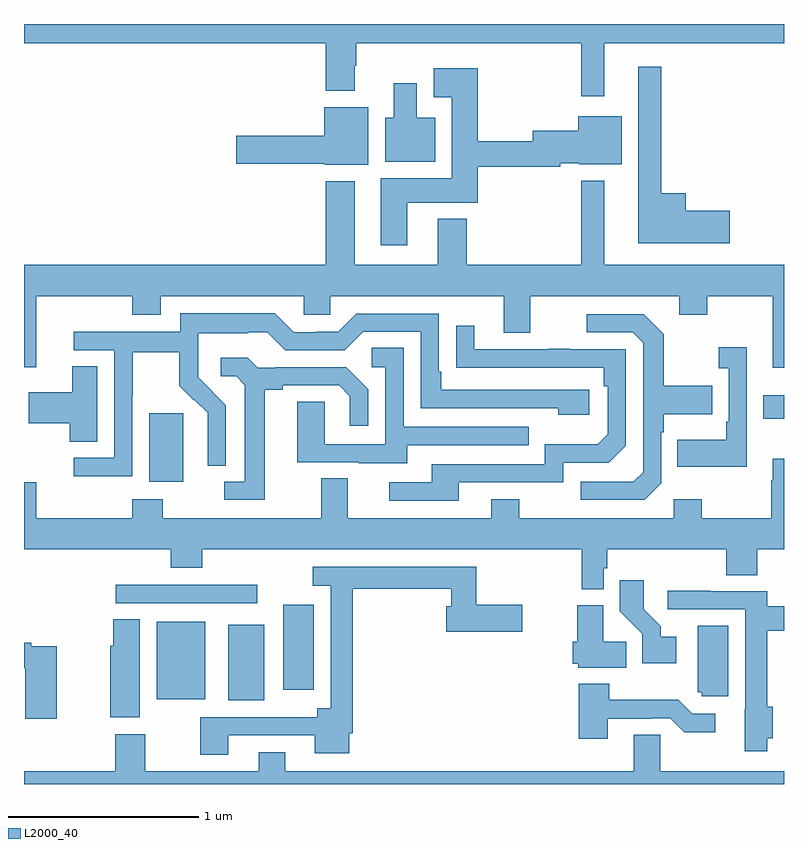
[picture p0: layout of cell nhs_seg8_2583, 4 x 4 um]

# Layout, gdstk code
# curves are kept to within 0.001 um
import gdstk
lib = gdstk.Library(unit=1e-6, precision=1e-09)
def R(c, l, rs):  # rectangles x0, y0, x1, y1
    for r in rs: c.add(gdstk.rectangle(r[:2], r[2:], *l))
def P(c, l, *ps):  # polygons
    for p in ps: c.add(gdstk.Polygon(p, *l))
L2000_40 = (2000, 40)

nhs_seg8_2583 = lib.new_cell('nhs_seg8_2583')
R(nhs_seg8_2583, L2000_40, [(274.076,1146.341,274.264,1146.739), (273.698,1146.347,273.955,1146.754), (274.364,1146.396,274.525,1146.844), (273.483,1146.852,274.228,1146.948), (273.659,1147.49,273.838,1147.851), (276.891,1147.823,277,1147.945)])
P(nhs_seg8_2583, L2000_40, [(276.055,1149.8),(277,1149.8),(277,1149.9),(273,1149.9),(273,1149.8),(274.589,1149.8),(274.589,1149.548),(274.741,1149.548),(274.741,1149.68),(274.749,1149.68),(274.749,1149.8),(275.934,1149.8),(275.934,1149.519),(276.055,1149.519)],
  [(276.715,1148.918),(276.484,1148.918),(276.484,1149.01),(276.355,1149.01),(276.355,1149.676),(276.233,1149.676),(276.233,1148.747),(276.715,1148.747)],
  [(275.017,1148.96),(275.387,1148.96),(275.387,1149.148),(275.822,1149.148),(275.822,1149.167),(275.922,1149.167),(275.922,1149.161),(276.145,1149.161),(276.145,1149.415),(275.918,1149.415),(275.918,1149.337),(275.678,1149.337),(275.678,1149.284),(275.387,1149.284),(275.387,1149.667),(275.157,1149.667),(275.157,1149.515),(275.252,1149.515),(275.252,1149.088),(274.877,1149.088),(274.877,1148.736),(275.017,1148.736)],
  [(275.164,1149.406),(275.068,1149.406),(275.068,1149.589),(274.946,1149.589),(274.946,1149.406),(274.901,1149.406),(274.901,1149.176),(275.164,1149.176)],
  [(274.813,1149.463),(274.58,1149.463),(274.58,1149.311),(274.116,1149.311),(274.116,1149.164),(274.584,1149.164),(274.584,1149.158),(274.813,1149.158)],
  [(276.055,1149.076),(275.934,1149.076),(275.934,1148.632),(275.33,1148.632),(275.33,1148.875),(275.177,1148.875),(275.177,1148.632),(274.741,1148.632),(274.741,1149.073),(274.589,1149.073),(274.589,1148.632),(273,1148.632),(273,1148.094),(273.064,1148.094),(273.064,1148.468),(273.569,1148.468),(273.569,1148.369),(273.721,1148.369),(273.721,1148.468),(274.473,1148.468),(274.473,1148.37),(274.611,1148.37),(274.611,1148.468),(275.525,1148.468),(275.525,1148.274),(275.665,1148.274),(275.665,1148.468),(276.449,1148.468),(276.449,1148.369),(276.597,1148.369),(276.597,1148.468),(276.941,1148.468),(276.941,1148.091),(277,1148.091),(277,1148.632),(276.055,1148.632)],
  [(273.57,1147.948),(273.573,1147.948),(273.573,1148.172),(273.817,1148.172),(273.817,1147.997),(273.894,1147.92),(273.897,1147.923),(273.968,1147.853),(273.968,1147.73),(273.966,1147.73),(273.966,1147.576),(274.062,1147.576),(274.062,1147.894),(273.916,1148.042),(273.916,1148.139),(273.918,1148.139),(273.918,1148.273),(274.181,1148.273),(274.181,1148.277),(274.281,1148.277),(274.374,1148.184),(274.689,1148.184),(274.785,1148.28),(275.088,1148.28),(275.088,1147.878),(275.813,1147.878),(275.813,1147.844),(275.974,1147.844),(275.974,1147.974),(275.197,1147.974),(275.197,1148.071),(275.184,1148.071),(275.184,1148.376),(274.749,1148.376),(274.653,1148.28),(274.535,1148.28),(274.535,1148.277),(274.419,1148.277),(274.319,1148.377),(273.822,1148.377),(273.822,1148.28),(273.261,1148.28),(273.261,1148.184),(273.474,1148.184),(273.474,1147.617),(273.261,1147.617),(273.261,1147.519),(273.57,1147.519)],
  [(276.354,1147.482),(276.354,1147.751),(276.367,1147.751),(276.367,1147.847),(276.623,1147.847),(276.623,1147.995),(276.367,1147.995),(276.367,1148.267),(276.261,1148.373),(275.961,1148.373),(275.961,1148.277),(276.204,1148.277),(276.258,1148.223),(276.258,1147.542),(276.207,1147.491),(275.931,1147.491),(275.931,1147.395),(276.267,1147.395)],
  [(275.287,1147.488),(275.838,1147.488),(275.838,1147.59),(276.078,1147.59),(276.168,1147.68),(276.168,1148.187),(275.873,1148.187),(275.873,1148.192),(275.761,1148.192),(275.761,1148.187),(275.371,1148.187),(275.371,1148.311),(275.275,1148.311),(275.275,1148.092),(276.052,1148.091),(276.052,1147.994),(276.072,1147.994),(276.072,1147.74),(276.019,1147.687),(275.742,1147.687),(275.742,1147.584),(275.147,1147.584),(275.147,1147.488),(274.923,1147.488),(274.923,1147.392),(275.287,1147.392)],
  [(276.804,1148.2),(276.657,1148.2),(276.657,1148.087),(276.708,1148.087),(276.708,1147.807),(276.696,1147.807),(276.696,1147.711),(276.439,1147.711),(276.439,1147.571),(276.804,1147.571)],
  [(275.017,1147.683),(275.657,1147.683),(275.657,1147.779),(274.998,1147.779),(274.998,1148.195),(274.83,1148.195),(274.83,1148.094),(274.902,1148.094),(274.902,1147.689),(274.584,1147.689),(274.584,1147.913),(274.439,1147.913),(274.439,1147.593),(274.763,1147.593),(274.763,1147.589),(275.017,1147.589)],
  [(274.267,1147.976),(274.363,1147.976),(274.363,1147.998),(274.658,1147.998),(274.715,1147.941),(274.715,1147.785),(274.812,1147.785),(274.812,1147.978),(274.696,1148.094),(274.324,1148.094),(274.324,1148.091),(274.23,1148.091),(274.178,1148.143),(274.035,1148.143),(274.035,1148.046),(274.116,1148.046),(274.163,1147.999),(274.163,1147.491),(274.053,1147.491),(274.053,1147.395),(274.267,1147.395)],
  [(273.385,1148.099),(273.254,1148.099),(273.254,1147.963),(273.024,1147.963),(273.024,1147.798),(273.242,1147.798),(273.242,1147.702),(273.385,1147.702)],
  [(276.051,1147.035),(276.071,1147.035),(276.071,1147.136),(276.695,1147.136),(276.695,1147),(276.86,1147),(276.86,1147.136),(277,1147.136),(277,1147.612),(276.941,1147.612),(276.941,1147.499),(276.934,1147.499),(276.934,1147.3),(276.567,1147.3),(276.567,1147.399),(276.42,1147.399),(276.42,1147.3),(275.607,1147.3),(275.607,1147.399),(275.459,1147.399),(275.459,1147.3),(274.705,1147.3),(274.705,1147.508),(274.565,1147.508),(274.565,1147.3),(273.729,1147.3),(273.729,1147.399),(273.569,1147.399),(273.569,1147.3),(273.064,1147.3),(273.064,1147.489),(273,1147.489),(273,1147.136),(273.773,1147.136),(273.773,1147.037),(273.938,1147.037),(273.938,1147.136),(275.935,1147.136),(275.935,1146.926),(276.051,1146.926)],
  [(274.075,1146.156),(274.529,1146.156),(274.529,1146.062),(274.711,1146.062),(274.711,1146.166),(274.73,1146.166),(274.73,1146.928),(275.249,1146.928),(275.249,1146.835),(275.222,1146.835),(275.222,1146.701),(275.623,1146.701),(275.623,1146.843),(275.381,1146.843),(275.381,1147.044),(274.521,1147.044),(274.521,1146.944),(274.614,1146.944),(274.614,1146.298),(274.544,1146.298),(274.544,1146.252),(273.928,1146.252),(273.928,1146.054),(274.075,1146.054)],
  [(276.433,1146.676),(276.352,1146.676),(276.352,1146.731),(276.262,1146.821),(276.262,1146.973),(276.136,1146.973),(276.136,1146.81),(276.255,1146.691),(276.255,1146.536),(276.433,1146.536)],
  [(276.911,1146.14),(276.941,1146.14),(276.941,1146.306),(276.911,1146.306),(276.911,1146.706),(277,1146.706),(277,1146.835),(276.911,1146.835),(276.911,1146.915),(276.611,1146.915),(276.611,1146.918),(276.387,1146.918),(276.387,1146.819),(276.795,1146.819),(276.795,1146.294),(276.794,1146.294),(276.794,1146.072),(276.911,1146.072)],
  [(276.17,1146.65),(276.049,1146.65),(276.049,1146.841),(275.912,1146.841),(275.912,1146.648),(275.888,1146.648),(275.888,1146.534),(275.916,1146.534),(275.916,1146.512),(276.17,1146.512)],
  [(273.61,1146.767),(273.469,1146.767),(273.469,1146.627),(273.455,1146.627),(273.455,1146.251),(273.61,1146.251)],
  [(276.706,1146.733),(276.545,1146.733),(276.545,1146.384),(276.567,1146.384),(276.567,1146.363),(276.706,1146.363)],
  [(273.172,1146.624),(273.038,1146.624),(273.038,1146.644),(273,1146.644),(273,1146.508),(273.007,1146.508),(273.007,1146.243),(273.172,1146.243)],
  [(276.073,1146.243),(276.302,1146.243),(276.302,1146.246),(276.402,1146.246),(276.475,1146.173),(276.637,1146.173),(276.637,1146.27),(276.516,1146.27),(276.443,1146.343),(276.081,1146.343),(276.081,1146.427),(275.921,1146.427),(275.921,1146.138),(276.073,1146.138)],
  [(274.235,1146.067),(274.235,1145.968),(273.639,1145.968),(273.639,1146.163),(273.479,1146.163),(273.479,1145.968),(273,1145.968),(273,1145.9),(277,1145.9),(277,1145.968),(276.348,1145.968),(276.348,1146.158),(276.209,1146.158),(276.209,1145.968),(274.375,1145.968),(274.375,1146.067)])

lib.write_gds('nhs_seg8_2583.gds')
